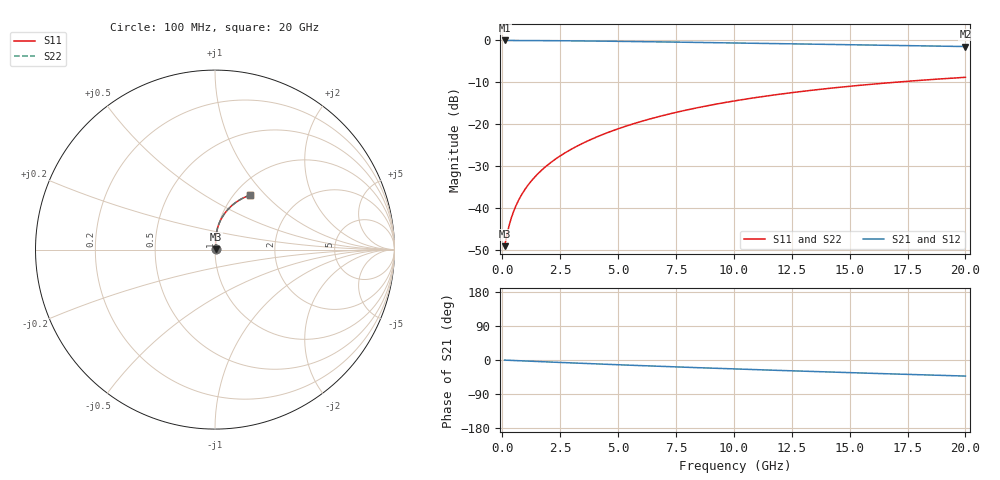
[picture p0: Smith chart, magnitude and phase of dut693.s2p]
! Touchstone file exported from HFSS 2024.1.0
!  File:  C:/UserFiles/LocalFiles/RDL_TSV_Batchsim/temp_RDL_top_693_1779782904.aedt
!  Generated:  04:10:46 PM May 26, 2026
!  Design:  RDL_top
!  Project:  temp_RDL_top_693_1779782904
!  Setup:  Setup1
!  Solution:  Sweep
! Variables:
!  dtsv = 10.80580581um
!  hbump = 3um
!  htsv = 76.5um
!  ldown = 100um
!  lrdl = 596.6um
!  p = 40
!  p1 = 54.06um
!  rhole = 1um
!  t = 450um
!  tdown = 3.915915916um
!  trdl = 3.03um
!  wdown = 15.38538539um
!  wrdl = 25.68um
# GHz S MA R 50.000000
! Terminal data exported
! Port[1] = Box2_T1
! Port[2] = Box2_T2
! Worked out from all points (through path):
!   200 points, 100 MHz to 20 GHz, reference 50 ohm
!   highest |S21| = -0.03 dB at 100 MHz (marker M1); lowest = -1.5 dB at 20 GHz (marker M2)
!   group delay of S21, straight-line fit = 5.83 ps
!   lowest |S11| = -49.1 dB at 100 MHz (marker M3), VSWR 1.01, Z = 50.3 + j0.187 ohm
!   |S11| at or under -10 dB: start of sweep to 16.96 GHz
!   |S22| runs from -49.1 to -8.8 dB; largest |S21 - S12| = 5e-15
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0.1  0.003512 32.0  0.997 -0.3  0.997 -0.3  0.003512 32.0
! Gamma 0 0 0 0
! Port Impedance 50 0 50 0
0.2  0.004805 49.5  0.9968 -0.5  0.9968 -0.5  0.004805 49.5
0.3  0.006281 58.4  0.9966 -0.8  0.9966 -0.8  0.00628 58.4
0.4  0.007785 63.9  0.9964 -1.1  0.9964 -1.1  0.007785 63.9
0.5  0.009295 67.6  0.9962 -1.3  0.9962 -1.3  0.009295 67.6
0.6  0.01081 70.5  0.996 -1.6  0.996 -1.6  0.01081 70.5
0.8  0.01388 74.5  0.9955 -2.1  0.9955 -2.1  0.01388 74.5
1.1  0.01859 78.3  0.9948 -2.9  0.9948 -2.9  0.01859 78.3
1.3  0.0218 80.1  0.9943 -3.4  0.9943 -3.4  0.0218 80.1
1.6  0.02668 81.9  0.9934 -4.2  0.9934 -4.2  0.02668 81.9
2.1  0.03502 83.8  0.9915 -5.4  0.9915 -5.4  0.03502 83.8
2.7  0.04537 85.1  0.9886 -7.0  0.9886 -7.0  0.04536 85.1
3.5  0.0597 85.7  0.984 -8.9  0.984 -8.9  0.0597 85.7
4.2  0.07274 85.7  0.9794 -10.6  0.9794 -10.6  0.07274 85.7
5  0.08813 85.3  0.9735 -12.5  0.9735 -12.5  0.08812 85.3
6.8  0.1241 83.0  0.9589 -16.7  0.9589 -16.7  0.1241 83.0
8.4  0.1567 80.2  0.945 -20.2  0.945 -20.2  0.1567 80.2
10.1  0.1911 76.8  0.9301 -23.7  0.9301 -23.7  0.191 76.8
11.7  0.2225 73.5  0.9159 -27.0  0.9159 -27.0  0.2225 73.5
13.4  0.2546 70.0  0.9009 -30.3  0.9009 -30.3  0.2546 70.0
16.7  0.312 63.3  0.8719 -36.5  0.8719 -36.5  0.312 63.3
20  0.3625 57.0  0.8437 -42.4  0.8437 -42.4  0.3625 57.0
